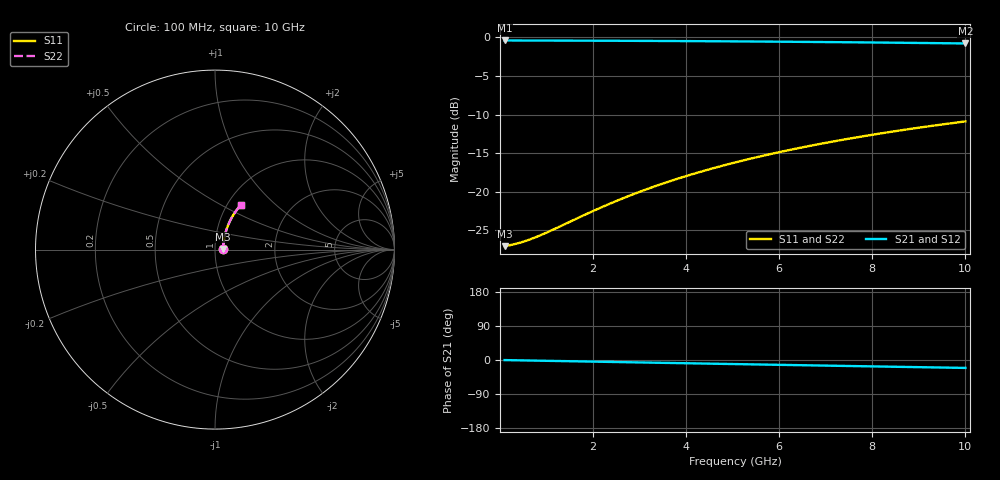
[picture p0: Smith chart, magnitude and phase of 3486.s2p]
# Hz S RI R 50.00
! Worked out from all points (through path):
!   100 points, 100 MHz to 10 GHz, reference 50 ohm
!   highest |S21| = -0.39 dB at 100 MHz (marker M1); lowest = -0.8 dB at 10 GHz (marker M2)
!   group delay of S21, straight-line fit = 5.81 ps
!   lowest |S11| = -27.1 dB at 100 MHz (marker M3), VSWR 1.09, Z = 54.6 + j0.307 ohm
!   |S11| at or under -10 dB: start of sweep to end of sweep
!   |S22| runs from -27.1 to -10.9 dB; largest |S21 - S12| = 0
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1e8  0.0443 0.0028  0.9557 -0.00358  0.9557 -0.00358  0.0443 0.0028
3e8  0.0448 0.00839  0.9552 -0.0107  0.9552 -0.0107  0.0448 0.00839
4e8  0.0451 0.0112  0.9549 -0.0143  0.9549 -0.0143  0.0451 0.0112
5e8  0.0453 0.014  0.9547 -0.0179  0.9547 -0.0179  0.0453 0.014
7e8  0.0458 0.0195  0.9542 -0.025  0.9542 -0.025  0.0458 0.0195
9e8  0.0463 0.0251  0.9537 -0.0322  0.9537 -0.0322  0.0463 0.0251
1.1e9  0.0469 0.0307  0.9531 -0.0393  0.9531 -0.0393  0.0469 0.0307
1.8e9  0.0494 0.05  0.9504 -0.0641  0.9504 -0.0641  0.0494 0.05
2.2e9  0.0513 0.061  0.9485 -0.0782  0.9485 -0.0782  0.0513 0.061
2.6e9  0.0534 0.0719  0.9463 -0.0922  0.9463 -0.0922  0.0534 0.0719
3e9  0.0559 0.0827  0.9438 -0.1062  0.9438 -0.1062  0.0559 0.0827
3.4e9  0.0587 0.0934  0.941 -0.12  0.941 -0.12  0.0587 0.0934
3.8e9  0.0617 0.104  0.9378 -0.1338  0.9378 -0.1338  0.0617 0.104
4.2e9  0.0651 0.1144  0.9343 -0.1474  0.9343 -0.1474  0.0651 0.1144
4.6e9  0.0687 0.1248  0.9306 -0.1609  0.9306 -0.1609  0.0687 0.1248
5.1e9  0.0737 0.1375  0.9255 -0.1776  0.9255 -0.1776  0.0737 0.1375
5.9e9  0.0825 0.1574  0.9163 -0.2037  0.9163 -0.2037  0.0825 0.1574
6.7e9  0.0924 0.1766  0.9061 -0.2292  0.9061 -0.2292  0.0924 0.1766
7.5e9  0.1033 0.195  0.8949 -0.254  0.8949 -0.254  0.1033 0.195
8.4e9  0.1167 0.2147  0.881 -0.2808  0.881 -0.2808  0.1167 0.2147
9.2e9  0.1295 0.2313  0.8678 -0.3038  0.8678 -0.3038  0.1295 0.2313
1e10  0.143 0.2471  0.8537 -0.3259  0.8537 -0.3259  0.143 0.2471
